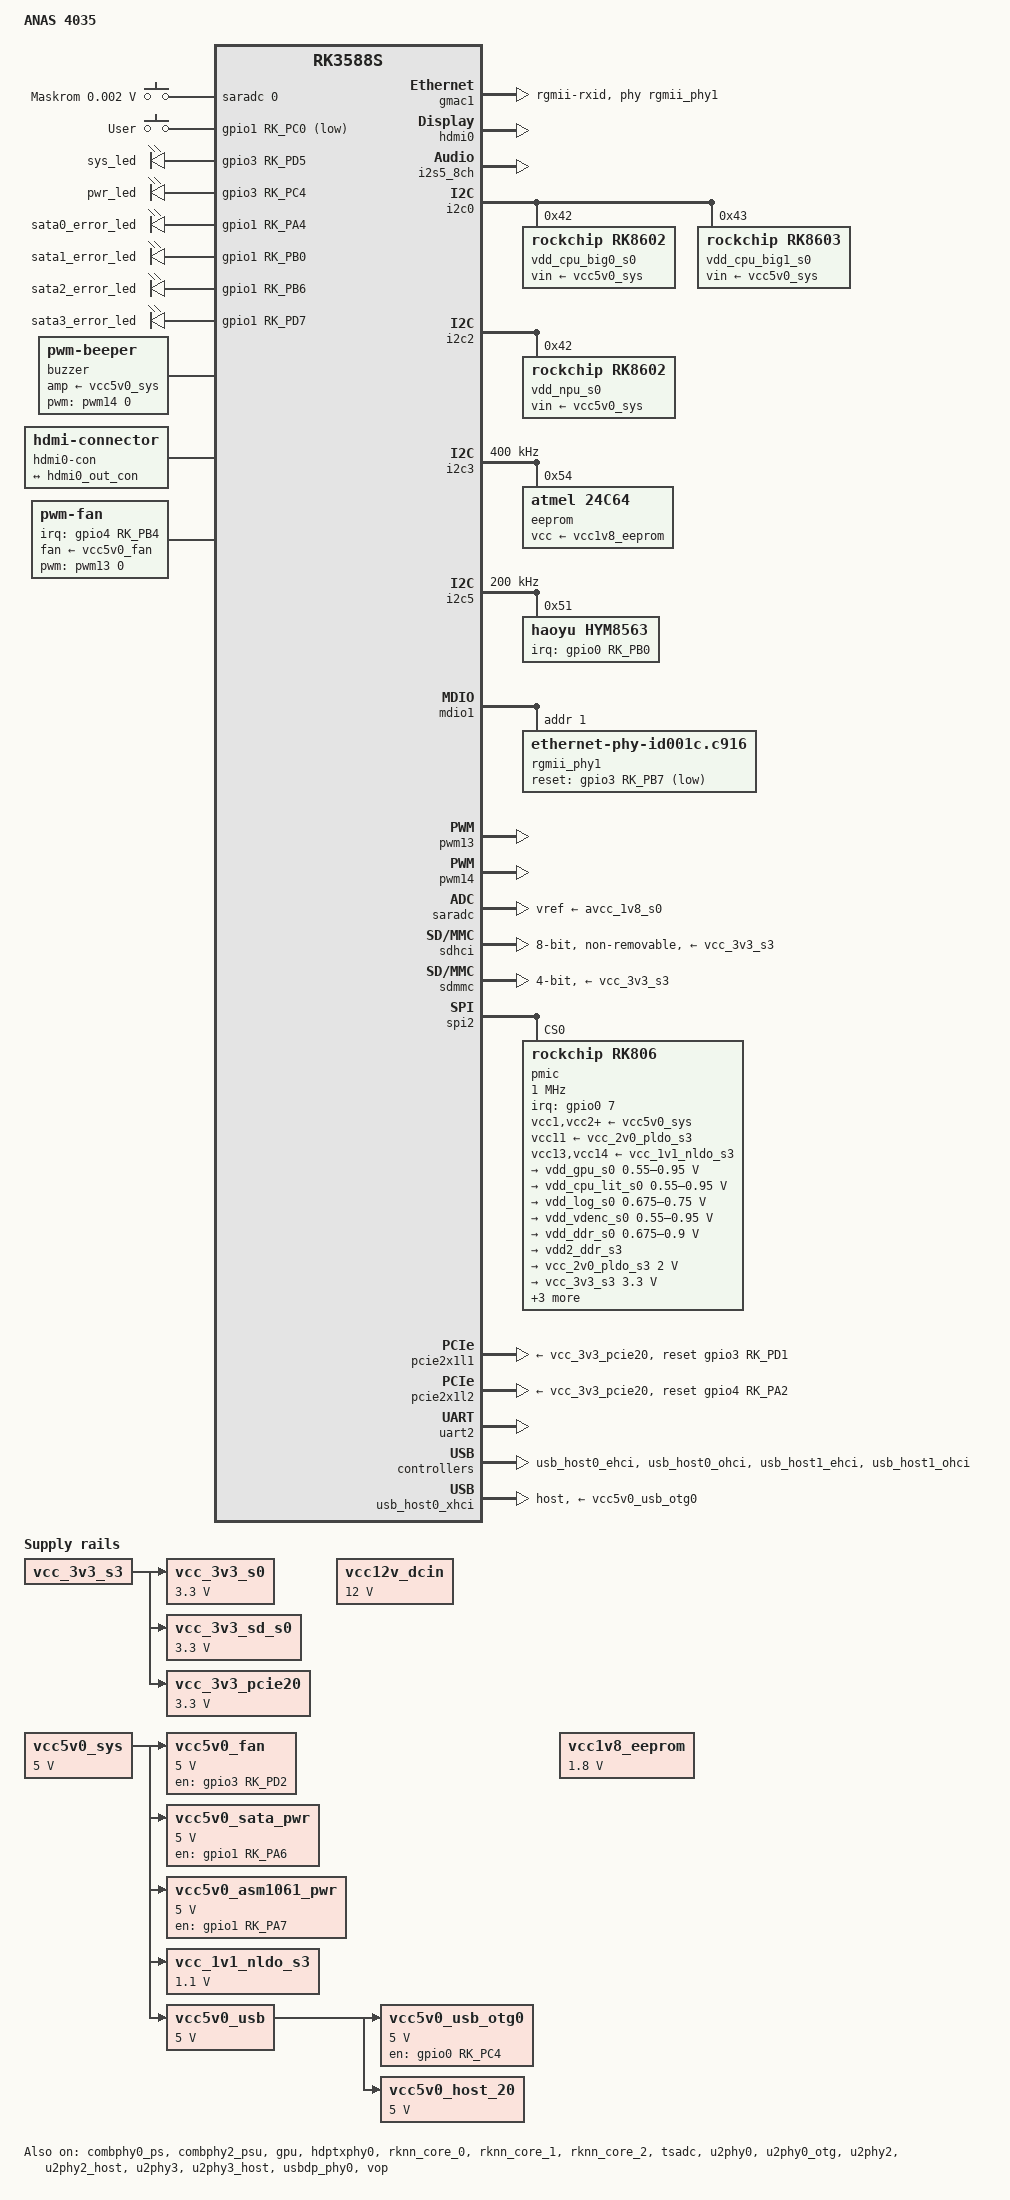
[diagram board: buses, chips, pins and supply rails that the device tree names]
// SPDX-License-Identifier: (GPL-2.0+ OR MIT)

/dts-v1/;

#include <dt-bindings/gpio/gpio.h>
#include <dt-bindings/leds/common.h>
#include <dt-bindings/input/input.h>
#include <dt-bindings/pinctrl/rockchip.h>
#include <dt-bindings/usb/pd.h>
#include <dt-bindings/soc/rockchip,vop2.h>
#include "rk3588s.dtsi"

/ {
	model = "ANAS 4035";
	compatible = "ANAS-4035", "rockchip,rk3588s";


	aliases {
		mmc0 = &sdmmc;
		mmc1 = &sdhci;
	};

	chosen {
		stdout-path = "serial2:1500000n8";
	};

	adc-keys {
		compatible = "adc-keys";
		io-channels = <&saradc 0>;
		io-channel-names = "buttons";
		keyup-threshold-microvolt = <1800000>;
		poll-interval = <100>;

		button-maskrom {
			label = "Maskrom";
			linux,code = <KEY_VENDOR>;
			press-threshold-microvolt = <1800>;
		};
	};

	gpio-keys {
		compatible = "gpio-keys";
		pinctrl-names = "default";
		pinctrl-0 = <&key1_pin>;

		button-user {
			label = "User";
			linux,code = <BTN_1>;
			gpios = <&gpio1 RK_PC0 GPIO_ACTIVE_LOW>;
			debounce-interval = <50>;
		};
	};

	leds {
		compatible = "gpio-leds";

		sys_led: sys-led {
			label = "sys_led";
			gpios = <&gpio3 RK_PD5 GPIO_ACTIVE_HIGH>;
			linux,default-trigger = "heartbeat";
			pinctrl-names = "default";
			pinctrl-0 = <&sys_led_pin>;
		};

		pwr_led: pwr-led {
			label = "pwr_led";
			gpios = <&gpio3 RK_PC4 GPIO_ACTIVE_HIGH>;
			default-state = "on";
			pinctrl-names = "default";
			pinctrl-0 = <&pwr_led_pin>;
		};
		
                sata0_error_led: sata0-error-led {
                        label = "sata0_error_led";
                        gpios = <&gpio1 RK_PA4 GPIO_ACTIVE_HIGH>;
                        pinctrl-names = "default";
                        pinctrl-0 = <&sata0_error_led_pin>;
                };

                sata1_error_led: sata1-error-led {
                        label = "sata1_error_led";
                        gpios = <&gpio1 RK_PB0 GPIO_ACTIVE_HIGH>;
                        pinctrl-names = "default";
                        pinctrl-0 = <&sata1_error_led_pin>;
                };

                sata2_error_led: sata2-error-led {
                        label = "sata2_error_led";
                        gpios = <&gpio1 RK_PB6 GPIO_ACTIVE_HIGH>;
                        pinctrl-names = "default";
                        pinctrl-0 = <&sata2_error_led_pin>;
                };

                sata3_error_led: sata3-error-led {
                        label = "sata3_error_led";
                        gpios = <&gpio1 RK_PD7 GPIO_ACTIVE_HIGH>;
                        pinctrl-names = "default";
                        pinctrl-0 = <&sata3_error_led_pin>;
                };


	};

 	                buzzer: pwm-beeper {
                        compatible = "pwm-beeper";
                        amp-supply = <&vcc5v0_sys>;
                        beeper-hz = <4000>;
                        pwms = <&pwm14 0 250000 0>;
                };


	hdmi0-con {
		compatible = "hdmi-connector";
		type = "a";

		port {
			hdmi0_con_in: endpoint {
				remote-endpoint = <&hdmi0_out_con>;
			};
		};
	};


        fan: pwm-fan {
                compatible = "pwm-fan";
                #cooling-cells = <2>;
                cooling-levels = <0 50 100 195 255>;
                fan-supply = <&vcc5v0_fan>;
                pwms = <&pwm13 0 50000 0>;
                interrupt-parent = <&gpio4>;
                interrupts = <RK_PB4 IRQ_TYPE_EDGE_FALLING>;   /* tach 常用下降沿 */
                pulses-per-revolution = <2>;                   /* 大部分 4线风扇=2脉冲/转 */
                pinctrl-names = "default";
                pinctrl-0 = <&fan_tach_pin>;
        };

	vcc12v_dcin: regulator-vcc12v-dcin {
		compatible = "regulator-fixed";
		regulator-name = "vcc12v_dcin";
		regulator-always-on;
		regulator-boot-on;
		regulator-min-microvolt = <12000000>;
		regulator-max-microvolt = <12000000>;
	};




	vcc5v0_sys: vcc5v0-sys-regulator {
		compatible = "regulator-fixed";
		regulator-name = "vcc5v0_sys";
		regulator-always-on;
		regulator-boot-on;
		regulator-min-microvolt = <5000000>;
		regulator-max-microvolt = <5000000>;
	};

        vcc5v0_fan: regulator-vcc5v0-fan {
        	compatible = "regulator-fixed";
        	enable-active-high;
        	gpio = <&gpio3 RK_PD2 GPIO_ACTIVE_HIGH>;
        	pinctrl-names = "default";
        	pinctrl-0 = <&fan_pwr_en>;
        	regulator-name = "vcc5v0_fan";
        	regulator-min-microvolt = <5000000>;
        	regulator-max-microvolt = <5000000>;
        	vin-supply = <&vcc5v0_sys>;
        };

	vcc5v0_sata_pwr: regulator-vcc5v0-sata {
		compatible = "regulator-fixed";
		enable-active-high;
		gpio = <&gpio1 RK_PA6 GPIO_ACTIVE_HIGH>;
		pinctrl-names = "default";
		pinctrl-0 = <&sata_pwr_en>;
		regulator-always-on;
                regulator-boot-on;
		regulator-name = "vcc5v0_sata_pwr";
		regulator-min-microvolt = <5000000>;
		regulator-max-microvolt = <5000000>;
		vin-supply = <&vcc5v0_sys>;
	};

        vcc5v0_asm1061_pwr: regulator-vcc5v0-asm1061 {
                compatible = "regulator-fixed";
                enable-active-high;
                gpio = <&gpio1 RK_PA7 GPIO_ACTIVE_HIGH>;
                pinctrl-names = "default";
                pinctrl-0 = <&asm1061_pwr_en>;
                regulator-always-on;
                regulator-boot-on;
                regulator-name = "vcc5v0_asm1061_pwr";
                regulator-min-microvolt = <5000000>;
                regulator-max-microvolt = <5000000>;
                vin-supply = <&vcc5v0_sys>;
        };




	vcc_1v1_nldo_s3: vcc-1v1-nldo-s3-regulator {
		compatible = "regulator-fixed";
		regulator-name = "vcc_1v1_nldo_s3";
		regulator-always-on;
		regulator-boot-on;
		regulator-min-microvolt = <1100000>;
		regulator-max-microvolt = <1100000>;
		vin-supply = <&vcc5v0_sys>;
	};

	vcc_3v3_s0: vcc-3v3-s0-regulator {
		compatible = "regulator-fixed";
		regulator-always-on;
		regulator-boot-on;
		regulator-min-microvolt = <3300000>;
		regulator-max-microvolt = <3300000>;
		regulator-name = "vcc_3v3_s0";
		vin-supply = <&vcc_3v3_s3>;
	};

	vcc_3v3_sd_s0: vcc-3v3-sd-s0-regulator {
		compatible = "regulator-fixed";
		regulator-name = "vcc_3v3_sd_s0";
		regulator-boot-on;
                regulator-always-on;
		regulator-max-microvolt = <3300000>;
		regulator-min-microvolt = <3300000>;
		vin-supply = <&vcc_3v3_s3>;
	};

	vcc_3v3_pcie20: vcc3v3-pcie20-regulator {
		compatible = "regulator-fixed";
		regulator-name = "vcc_3v3_pcie20";
		regulator-always-on;
		regulator-boot-on;
		regulator-min-microvolt = <3300000>;
		regulator-max-microvolt = <3300000>;
		vin-supply = <&vcc_3v3_s3>;
		startup-delay-us = <200000>;
	};

	vcc5v0_usb: vcc5v0-usb-regulator {
		compatible = "regulator-fixed";
		regulator-name = "vcc5v0_usb";
		regulator-always-on;
		regulator-boot-on;
		regulator-min-microvolt = <5000000>;
		regulator-max-microvolt = <5000000>;
		vin-supply = <&vcc5v0_sys>;
	};

	vcc5v0_usb_otg0: vcc5v0-usb-otg0-regulator {
		compatible = "regulator-fixed";
		enable-active-high;
		gpios = <&gpio0 RK_PC4 GPIO_ACTIVE_HIGH>;
		pinctrl-names = "default";
		pinctrl-0 = <&usb5v_pwren>;
		regulator-name = "vcc5v0_usb_otg0";
	    	regulator-always-on;
	    	regulator-boot-on;
		regulator-min-microvolt = <5000000>;
		regulator-max-microvolt = <5000000>;
		startup-delay-us = <1200000>;
		vin-supply = <&vcc5v0_usb>;
	};

	vcc5v0_host_20: vcc5v0-host-20-regulator {
		compatible = "regulator-fixed";
		regulator-name = "vcc5v0_host_20";
		regulator-min-microvolt = <5000000>;
		regulator-max-microvolt = <5000000>;
		vin-supply = <&vcc5v0_usb>;
	    	regulator-always-on;
	    	regulator-boot-on;
	};

	vcc1v8_eeprom: vcc1v8-eeprom {
    		compatible = "regulator-fixed";
    		regulator-name = "vcc1v8_eeprom";
    		regulator-min-microvolt = <1800000>;
    		regulator-max-microvolt = <1800000>;
    		regulator-always-on;
	};


};

&combphy0_ps {
	status = "okay";
};

&combphy2_psu {
	status = "okay";
};

&cpu_b0 {
	cpu-supply = <&vdd_cpu_big0_s0>;
};

&cpu_b1 {
	cpu-supply = <&vdd_cpu_big0_s0>;
};

&cpu_b2 {
	cpu-supply = <&vdd_cpu_big1_s0>;
};

&cpu_b3 {
	cpu-supply = <&vdd_cpu_big1_s0>;
};

&cpu_l0 {
	cpu-supply = <&vdd_cpu_lit_s0>;
};

&cpu_l1 {
	cpu-supply = <&vdd_cpu_lit_s0>;
};

&cpu_l2 {
	cpu-supply = <&vdd_cpu_lit_s0>;
};

&cpu_l3 {
	cpu-supply = <&vdd_cpu_lit_s0>;
};

&gmac1 {
	clock_in_out = "output";
	phy-handle = <&rgmii_phy1>;
	phy-mode = "rgmii-rxid";
	pinctrl-0 = <&gmac1_miim
		     &gmac1_tx_bus2
		     &gmac1_rx_bus2
		     &gmac1_rgmii_clk
		     &gmac1_rgmii_bus>;
	pinctrl-names = "default";
	tx_delay = <0x42>;
	status = "okay";
};

&gpu {
	mali-supply = <&vdd_gpu_s0>;
	status = "okay";
};

&hdmi0 {
        status = "okay";
};

&hdmi0_in {
        hdmi0_in_vp0: endpoint {
                remote-endpoint = <&vp0_out_hdmi0>;
        };
};

&hdmi0_out {
        hdmi0_out_con: endpoint {
                remote-endpoint = <&hdmi0_con_in>;
        };
};


&hdmi0_sound {
        simple-audio-card,cpu {
                sound-dai = <&i2s5_8ch>;
        };
};

&i2s5_8ch {
        status = "okay";
};

&hdptxphy0 {
        status = "okay";
};

&i2c0 {
	pinctrl-names = "default";
	pinctrl-0 = <&i2c0m2_xfer>;
	status = "okay";

	vdd_cpu_big0_s0: regulator@42 {
		compatible = "rockchip,rk8602";
		reg = <0x42>;
		fcs,suspend-voltage-selector = <1>;
		regulator-name = "vdd_cpu_big0_s0";
		regulator-always-on;
		regulator-boot-on;
		regulator-min-microvolt = <550000>;
		regulator-max-microvolt = <1050000>;
		regulator-ramp-delay = <2300>;
		vin-supply = <&vcc5v0_sys>;

		regulator-state-mem {
			regulator-off-in-suspend;
		};
	};

	vdd_cpu_big1_s0: regulator@43 {
		compatible = "rockchip,rk8603", "rockchip,rk8602";
		reg = <0x43>;
		fcs,suspend-voltage-selector = <1>;
		regulator-name = "vdd_cpu_big1_s0";
		regulator-always-on;
		regulator-boot-on;
		regulator-min-microvolt = <550000>;
		regulator-max-microvolt = <1050000>;
		regulator-ramp-delay = <2300>;
		vin-supply = <&vcc5v0_sys>;

		regulator-state-mem {
			regulator-off-in-suspend;
		};
	};
};

&i2c2 {
	status = "okay";

	vdd_npu_s0: regulator@42 {
		compatible = "rockchip,rk8602";
		reg = <0x42>;
		fcs,suspend-voltage-selector = <1>;
		regulator-name = "vdd_npu_s0";
		regulator-min-microvolt = <550000>;
		regulator-max-microvolt = <950000>;
		regulator-ramp-delay = <2300>;
		regulator-boot-on;
		regulator-always-on;
		vin-supply = <&vcc5v0_sys>;

		regulator-state-mem {
			regulator-off-in-suspend;
		};
	};
};


&i2c3 {
    status = "okay";
    pinctrl-names = "default";
    pinctrl-0 = <&i2c3m0_xfer>;
    clock-frequency = <400000>;

	eeprom@54 {
    	compatible = "atmel,24c64", "at24";
    	reg = <0x54>;
    	pagesize = <32>;
    	size = <8192>;
	vcc-supply = <&vcc1v8_eeprom>;
	};

};


&i2c5 {
	clock-frequency = <200000>;
	pinctrl-names = "default";
	pinctrl-0 = <&i2c5m2_xfer>;
	status = "okay";

	hym8563: rtc@51 {
		compatible = "haoyu,hym8563";
		reg = <0x51>;
		#clock-cells = <0>;
		clock-output-names = "hym8563";
		pinctrl-names = "default";
		pinctrl-0 = <&rtc_int>;
		interrupt-parent = <&gpio0>;
		interrupts = <RK_PB0 IRQ_TYPE_LEVEL_LOW>;
		wakeup-source;
	};
};



&mdio1 {
	rgmii_phy1: ethernet-phy@1 {
		compatible = "ethernet-phy-id001c.c916";
		reg = <0x1>;
		pinctrl-names = "default";
		pinctrl-0 = <&rtl8211f_rst>;
		reset-assert-us = <20000>;
		reset-deassert-us = <100000>;
		reset-gpios = <&gpio3 RK_PB7 GPIO_ACTIVE_LOW>;
	};
};


&pd_gpu {
        domain-supply = <&vdd_gpu_s0>;
};

&pd_npu {
        domain-supply = <&vdd_npu_s0>;
};


&pinctrl {
	gpio-key {
		key1_pin: key1-pin {
			rockchip,pins = <1 RK_PC0 RK_FUNC_GPIO &pcfg_pull_none>;
		};
	};

	gpio-leds {
		sys_led_pin: sys-led-pin {
			rockchip,pins =	<3 RK_PD5 RK_FUNC_GPIO &pcfg_pull_none>;
		};

		pwr_led_pin: pwr-led-pin {
			rockchip,pins =	<3 RK_PC4 RK_FUNC_GPIO &pcfg_pull_none>;
		};
		
		sata0_error_led_pin: sata0-error-led-pin {
            		rockchip,pins = <1 RK_PA4 RK_FUNC_GPIO &pcfg_pull_none>;
        	};

        	sata1_error_led_pin: sata1-error-led-pin {
            		rockchip,pins = <1 RK_PB0 RK_FUNC_GPIO &pcfg_pull_none>;
        	};

        	sata2_error_led_pin: sata2-error-led-pin {
            		rockchip,pins = <1 RK_PB6 RK_FUNC_GPIO &pcfg_pull_none>;
        	};

        	sata3_error_led_pin: sata3-error-led-pin {
            		rockchip,pins = <1 RK_PD7 RK_FUNC_GPIO &pcfg_pull_none>;
        	};

	};

	hym8563 {
		rtc_int: rtc-int {
			rockchip,pins = <0 RK_PB0 RK_FUNC_GPIO &pcfg_pull_up>;
		};
	};

    	usb {
        	usb5v_pwren: usb5v-pwren {
            		rockchip,pins = <0 RK_PC4 RK_FUNC_GPIO &pcfg_pull_none>;
        	};
    	};

	rtl8211f {
		rtl8211f_rst: rtl8211f-rst {
			rockchip,pins = <3 RK_PB7 RK_FUNC_GPIO &pcfg_pull_up>;
		};
	};

	fan {
		fan_pwr_en: fan-pwr-en {
			rockchip,pins = <3 RK_PD2 RK_FUNC_GPIO &pcfg_pull_down>;
		};

		fan_tach_pin: fan-tach-pin {
            		rockchip,pins = <4 RK_PB4 RK_FUNC_GPIO &pcfg_pull_up>;
        	};
	};

        sata {
                sata_pwr_en: sata-pwr-en {
                        rockchip,pins = <1 RK_PA6 RK_FUNC_GPIO &pcfg_pull_down>;
                };
        };
	
	asm1061 {
                asm1061_pwr_en: asm1061-pwr-en {
                        rockchip,pins = <1 RK_PA7 RK_FUNC_GPIO &pcfg_pull_down>;
                };
        };

};

&pwm13 {
        pinctrl-names = "default";
        pinctrl-0 = <&pwm13m2_pins>;
        status = "okay";
};


&pwm14 {
        pinctrl-names = "default";
        pinctrl-0 = <&pwm14m1_pins>;
        status = "okay";
};


&rknn_core_0 {
        npu-supply = <&vdd_npu_s0>;
        sram-supply = <&vdd_npu_s0>;
        status = "okay";
};

&rknn_core_1 {
        npu-supply = <&vdd_npu_s0>;
        sram-supply = <&vdd_npu_s0>;
        status = "okay";
};

&rknn_core_2 {
        npu-supply = <&vdd_npu_s0>;
        sram-supply = <&vdd_npu_s0>;
        status = "okay";
};

&rknn_mmu_0 {
        status = "okay";
};

&rknn_mmu_1 {
        status = "okay";
};

&rknn_mmu_2 {
        status = "okay";
};


&saradc {
	vref-supply = <&avcc_1v8_s0>;
	status = "okay";
};



&sdhci {
        bus-width = <8>;
        no-sdio;
        no-sd;
        non-removable;
        max-frequency = <200000000>;
        mmc-hs400-1_8v;
        //mmc-hs400-enhanced-strobe;
        status = "okay";
        vmmc-supply = <&vcc_3v3_s3>;
};

&sdmmc {
        bus-width = <4>;
        cap-mmc-highspeed;
        cap-sd-highspeed;
        disable-wp;
        max-frequency = <150000000>;
        no-mmc;
        no-sdio;
        vmmc-supply = <&vcc_3v3_s3>;
        status = "okay";
};


&spi2 {
        status = "okay";
        assigned-clocks = <&cru CLK_SPI2>;
        assigned-clock-rates = <200000000>;
        pinctrl-names = "default";
        pinctrl-0 = <&spi2m2_cs0 &spi2m2_pins>;
        num-cs = <1>;

        pmic@0 {
                compatible = "rockchip,rk806";
                spi-max-frequency = <1000000>;
                reg = <0x0>;

                interrupt-parent = <&gpio0>;
                interrupts = <7 IRQ_TYPE_LEVEL_LOW>;

                pinctrl-names = "default";
                pinctrl-0 = <&pmic_pins>, <&rk806_dvs1_null>,
                            <&rk806_dvs2_null>, <&rk806_dvs3_null>;

                system-power-controller;

                vcc1-supply = <&vcc5v0_sys>;
                vcc2-supply = <&vcc5v0_sys>;
                vcc3-supply = <&vcc5v0_sys>;
                vcc4-supply = <&vcc5v0_sys>;
                vcc5-supply = <&vcc5v0_sys>;
                vcc6-supply = <&vcc5v0_sys>;
                vcc7-supply = <&vcc5v0_sys>;
                vcc8-supply = <&vcc5v0_sys>;
                vcc9-supply = <&vcc5v0_sys>;
                vcc10-supply = <&vcc5v0_sys>;
                vcc11-supply = <&vcc_2v0_pldo_s3>;
                vcc12-supply = <&vcc5v0_sys>;
                vcc13-supply = <&vcc_1v1_nldo_s3>;
                vcc14-supply = <&vcc_1v1_nldo_s3>;
                vcca-supply = <&vcc5v0_sys>;

                gpio-controller;
                #gpio-cells = <2>;

                rk806_dvs1_null: dvs1-null-pins {
                        pins = "gpio_pwrctrl1";
                        function = "pin_fun0";
                };

                rk806_dvs2_null: dvs2-null-pins {
                        pins = "gpio_pwrctrl2";
                        function = "pin_fun0";
                };

                rk806_dvs3_null: dvs3-null-pins {
                        pins = "gpio_pwrctrl3";
                        function = "pin_fun0";
                };

                regulators {
                        vdd_gpu_s0: vdd_gpu_mem_s0: dcdc-reg1 {
                                regulator-boot-on;
                                regulator-min-microvolt = <550000>;
                                regulator-max-microvolt = <950000>;
                                regulator-ramp-delay = <12500>;
                                regulator-name = "vdd_gpu_s0";
                                regulator-enable-ramp-delay = <400>;

                                regulator-state-mem {
                                        regulator-off-in-suspend;
                                };
                        };

                        vdd_cpu_lit_s0: vdd_cpu_lit_mem_s0: dcdc-reg2 {
                                regulator-always-on;
                                regulator-boot-on;
                                regulator-min-microvolt = <550000>;
                                regulator-max-microvolt = <950000>;
                                regulator-ramp-delay = <12500>;
                                regulator-name = "vdd_cpu_lit_s0";

                                regulator-state-mem {
                                        regulator-off-in-suspend;
                                };
                        };

                        vdd_log_s0: dcdc-reg3 {
                                regulator-always-on;
                                regulator-boot-on;
                                regulator-min-microvolt = <675000>;
                                regulator-max-microvolt = <750000>;
                                regulator-ramp-delay = <12500>;
                                regulator-name = "vdd_log_s0";

                                regulator-state-mem {
                                        regulator-off-in-suspend;
                                        regulator-suspend-microvolt = <750000>;
                                };
                        };

                        vdd_vdenc_s0: vdd_vdenc_mem_s0: dcdc-reg4 {
                                regulator-always-on;
                                regulator-boot-on;
                                regulator-min-microvolt = <550000>;
                                regulator-max-microvolt = <950000>;
                                regulator-ramp-delay = <12500>;
                                regulator-name = "vdd_vdenc_s0";

                                regulator-state-mem {
                                        regulator-off-in-suspend;
                                };
                        };

                        vdd_ddr_s0: dcdc-reg5 {
                                regulator-always-on;
                                regulator-boot-on;
                                regulator-min-microvolt = <675000>;
                                regulator-max-microvolt = <900000>;
                                regulator-ramp-delay = <12500>;
                                regulator-name = "vdd_ddr_s0";

                                regulator-state-mem {
                                        regulator-off-in-suspend;
                                        regulator-suspend-microvolt = <850000>;
                                };
                        };

                        vdd2_ddr_s3: dcdc-reg6 {
                                regulator-always-on;
                                regulator-boot-on;
                                regulator-name = "vdd2_ddr_s3";

                                regulator-state-mem {
                                        regulator-on-in-suspend;
                                };
                        };

                        vcc_2v0_pldo_s3: dcdc-reg7 {
                                regulator-always-on;
                                regulator-boot-on;
                                regulator-min-microvolt = <2000000>;
                                regulator-max-microvolt = <2000000>;
                                regulator-ramp-delay = <12500>;
                                regulator-name = "vdd_2v0_pldo_s3";

                                regulator-state-mem {
                                        regulator-on-in-suspend;
                                        regulator-suspend-microvolt = <2000000>;
                                };
                        };

                        vcc_3v3_s3: dcdc-reg8 {
                                regulator-always-on;
                                regulator-boot-on;
                                regulator-min-microvolt = <3300000>;
                                regulator-max-microvolt = <3300000>;
                                regulator-name = "vcc_3v3_s3";

                                regulator-state-mem {
                                        regulator-on-in-suspend;
                                        regulator-suspend-microvolt = <3300000>;
                                };
                        };

                        vddq_ddr_s0: dcdc-reg9 {
                                regulator-always-on;
                                regulator-boot-on;
                                regulator-name = "vddq_ddr_s0";

                                regulator-state-mem {
                                        regulator-off-in-suspend;
                                };
                        };

                        vcc_1v8_s3: dcdc-reg10 {
                                regulator-always-on;
                                regulator-boot-on;
                                regulator-min-microvolt = <1800000>;
                                regulator-max-microvolt = <1800000>;
                                regulator-name = "vcc_1v8_s3";

                                regulator-state-mem {
                                        regulator-on-in-suspend;
                                        regulator-suspend-microvolt = <1800000>;
                                };
                        };

                        avcc_1v8_s0: pldo-reg1 {
                                regulator-always-on;
                                regulator-boot-on;
                                regulator-min-microvolt = <1800000>;
                                regulator-max-microvolt = <1800000>;
                                regulator-name = "avcc_1v8_s0";

                                regulator-state-mem {
                                        regulator-off-in-suspend;
                                        regulator-suspend-microvolt = <1800000>;
                                };
                        };

                        vcc_1v8_s0: pldo-reg2 {
                                regulator-always-on;
                                regulator-boot-on;
                                regulator-min-microvolt = <1800000>;
                                regulator-max-microvolt = <1800000>;
                                regulator-name = "vcc_1v8_s0";

                                regulator-state-mem {
                                        regulator-off-in-suspend;
                                        regulator-suspend-microvolt = <1800000>;
                                };
                        };

                        avdd_1v2_s0: pldo-reg3 {
                                regulator-always-on;
                                regulator-boot-on;
                                regulator-min-microvolt = <1200000>;
                                regulator-max-microvolt = <1200000>;
                                regulator-name = "avdd_1v2_s0";

                                regulator-state-mem {
                                        regulator-off-in-suspend;
                                };
                        };

                        avcc_3v3_s0: pldo-reg4 {
                                regulator-always-on;
                                regulator-boot-on;
                                regulator-min-microvolt = <3300000>;
                                regulator-max-microvolt = <3300000>;
                                regulator-ramp-delay = <12500>;
                                regulator-name = "avcc_3v3_s0";

                                regulator-state-mem {
                                        regulator-off-in-suspend;
                                };
                        };

                        vccio_sd_s0: pldo-reg5 {
                                regulator-always-on;
                                regulator-boot-on;
                                regulator-min-microvolt = <1800000>;
                                regulator-max-microvolt = <3300000>;
                                regulator-ramp-delay = <12500>;
                                regulator-name = "vccio_sd_s0";

                                regulator-state-mem {
                                        regulator-off-in-suspend;
                                };
                        };

                        pldo6_s3: pldo-reg6 {
                                regulator-always-on;
                                regulator-boot-on;
                                regulator-min-microvolt = <1800000>;
                                regulator-max-microvolt = <1800000>;
                                regulator-name = "pldo6_s3";

                                regulator-state-mem {
                                        regulator-on-in-suspend;
                                        regulator-suspend-microvolt = <1800000>;
                                };
                        };

                        vdd_0v75_s3: nldo-reg1 {
                                regulator-always-on;
                                regulator-boot-on;
                                regulator-min-microvolt = <750000>;
                                regulator-max-microvolt = <750000>;
                                regulator-name = "vdd_0v75_s3";

                                regulator-state-mem {
                                        regulator-on-in-suspend;
                                        regulator-suspend-microvolt = <750000>;
                                };
                        };

                        avdd_ddr_pll_s0: nldo-reg2 {
                                regulator-always-on;
                                regulator-boot-on;
                                regulator-min-microvolt = <850000>;
                                regulator-max-microvolt = <850000>;
                                regulator-name = "avdd_ddr_pll_s0";

                                regulator-state-mem {
                                        regulator-off-in-suspend;
                                        regulator-suspend-microvolt = <850000>;
                                };
                        };

                        avdd_0v75_s0: nldo-reg3 {
                                regulator-always-on;
                                regulator-boot-on;
                                regulator-min-microvolt = <750000>;
                                regulator-max-microvolt = <750000>;
                                regulator-name = "avdd_0v75_s0";

                                regulator-state-mem {
                                        regulator-off-in-suspend;
                                };
                        };

                        avdd_0v85_s0: nldo-reg4 {
                                regulator-always-on;
                                regulator-boot-on;
                                regulator-min-microvolt = <850000>;
                                regulator-max-microvolt = <850000>;
                                regulator-name = "avdd_0v85_s0";

                                regulator-state-mem {
                                        regulator-off-in-suspend;
                                };
                        };

                        vdd_0v75_s0: nldo-reg5 {
                                regulator-always-on;
                                regulator-boot-on;
                                regulator-min-microvolt = <750000>;
                                regulator-max-microvolt = <750000>;
                                regulator-name = "vdd_0v75_s0";

                                regulator-state-mem {
                                        regulator-off-in-suspend;
                                };
                        };
                };
        };
};


&package_thermal {
        polling-delay = <1000>;

        trips {

                cpu_trip_active_cool: cpu-trip-active-cool {
                        temperature = <20000>;
                        hysteresis = <2000>;
                        type = "active";
                };

                cpu_trip_active_low: cpu-trip-active-low {
                        temperature = <30000>;
                        hysteresis = <2000>;
                        type = "active";
                };

                cpu_trip_active_med: cpu-trip-active-med {
                        temperature = <40000>;
                        hysteresis = <2000>;
                        type = "active";
                };

                cpu_trip_active_high: cpu-trip-active-high {
                        temperature = <50000>;
                        hysteresis = <2000>;
                        type = "active";
                };

                cpu_trip_active_hot: cpu-trip-active-hot {
                        temperature = <60000>;
                        hysteresis = <2000>;
                        type = "hot";
                };
        };

        cooling-maps {
                cpu-active-cool {
                        trip = <&cpu_trip_active_cool>;
                        cooling-device = <&fan THERMAL_NO_LIMIT 1>;
                };

                cpu-active-low {
                        trip = <&cpu_trip_active_low>;
                        cooling-device = <&fan 1 2>;
                };

                cpu-active-med {
                        trip = <&cpu_trip_active_med>;
                        cooling-device = <&fan 2 3>;
                };

                cpu-active-high {
                        trip = <&cpu_trip_active_high>;
                        cooling-device = <&fan 3 4>;
                };

                cpu-active-hot {
                        trip = <&cpu_trip_active_hot>;
                        cooling-device = <&fan 4 THERMAL_NO_LIMIT>;
                };
        };
};



&pcie2x1l1 {
        reset-gpios = <&gpio3 RK_PD1 GPIO_ACTIVE_HIGH>;
        vpcie3v3-supply = <&vcc_3v3_pcie20>;
        status = "okay";
};

&pcie2x1l2 {
        reset-gpios = <&gpio4 RK_PA2 GPIO_ACTIVE_HIGH>;
        vpcie3v3-supply = <&vcc_3v3_pcie20>;
        status = "okay";
};



&tsadc {
	status = "okay";
};


&u2phy0 {
        status = "okay";
};

&u2phy0_otg {
        status = "okay";
};

&u2phy2 {
        status = "okay";
};

&u2phy2_host {
        status = "okay";
};

&u2phy3 {
        status = "okay";
};

&u2phy3_host {
        status = "okay";
};


&uart2 {
        pinctrl-0 = <&uart2m0_xfer>;
        status = "okay";
};


&usb_host0_ehci {
        status = "okay";
};

&usb_host0_ohci {
        status = "okay";
};

&usb_host0_xhci {
        status = "okay";
        dr_mode = "host";
        vbus-supply = <&vcc5v0_usb_otg0>;
	snps,parkmode-disable-hs-quirk;
        snps,parkmode-disable-ss-quirk;
};

&usbdp_phy0 {
	rockchip,dp-lane-mux = <0 1>;
        status = "okay";
};

&usb_host1_ehci {
        status = "okay";
};

&usb_host1_ohci {
        status = "okay";
};

&usb_host2_xhci {
        status = "disabled";
};


&vop {
	status = "okay";
};

&vop_mmu {
	status = "okay";
};

&vp0 {
	vp0_out_hdmi0: endpoint@ROCKCHIP_VOP2_EP_HDMI0 {
		reg = <ROCKCHIP_VOP2_EP_HDMI0>;
		remote-endpoint = <&hdmi0_in_vp0>;
	};
};

